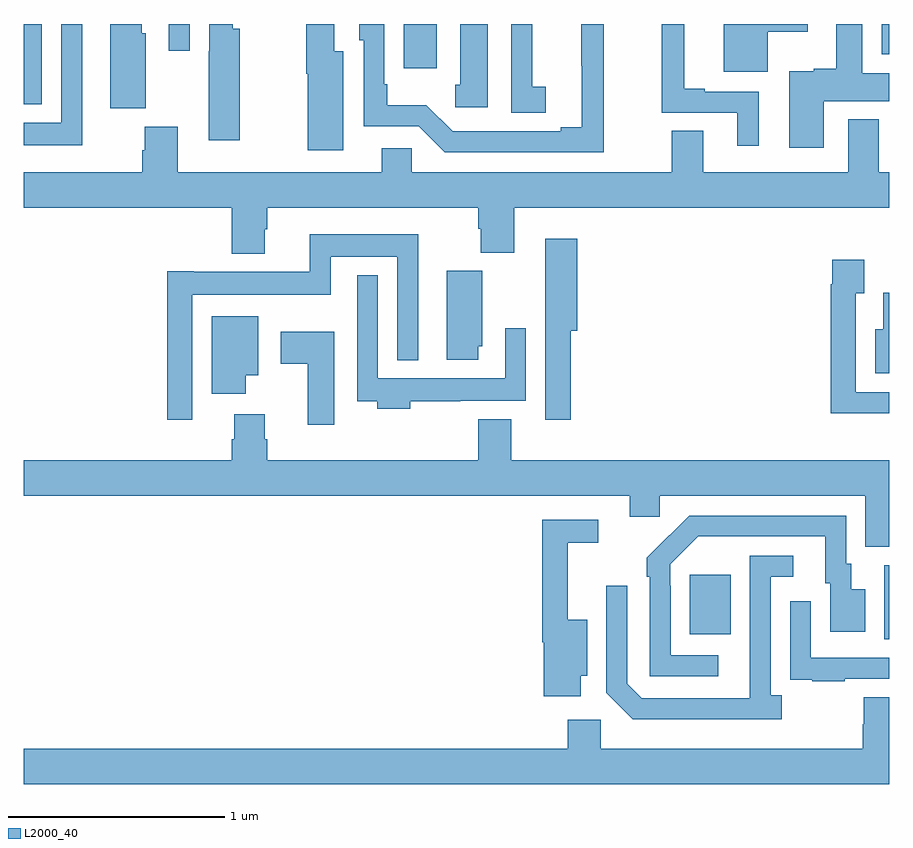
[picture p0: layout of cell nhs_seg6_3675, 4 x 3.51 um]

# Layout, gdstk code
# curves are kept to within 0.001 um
import gdstk
lib = gdstk.Library(unit=1e-6, precision=1e-09)
def R(c, l, rs):  # rectangles x0, y0, x1, y1
    for r in rs: c.add(gdstk.rectangle(r[:2], r[2:], *l))
def P(c, l, *ps):  # polygons
    for p in ps: c.add(gdstk.Polygon(p, *l))
L2000_40 = (2000, 40)

nhs_seg6_3675 = lib.new_cell('nhs_seg6_3675')
R(nhs_seg6_3675, L2000_40, [(328.976,962.656,329,963), (328.079,962.681,328.267,962.956), (325,965.129,325.083,965.5), (326.756,965.295,326.908,965.5), (328.964,965.36,329,965.5), (325.671,965.376,325.767,965.5)])
P(nhs_seg6_3675, L2000_40, [(327.68,965.5),(327.577,965.5),(327.578,965.024),(327.482,965.024),(327.482,965.004),(326.982,965.004),(326.861,965.125),(326.68,965.125),(326.68,965.221),(326.667,965.221),(326.667,965.5),(326.55,965.5),(326.55,965.424),(326.571,965.424),(326.571,965.028),(326.826,965.028),(326.946,964.908),(327.68,964.908)],
  [(327.145,965.5),(327.017,965.5),(327.017,965.22),(326.995,965.22),(326.995,965.115),(327.145,965.115)],
  [(325.564,965.457),(325.546,965.457),(325.546,965.5),(325.4,965.5),(325.4,965.11),(325.564,965.11)],
  [(328.396,965.187),(328.147,965.187),(328.147,965.2),(328.052,965.2),(328.052,965.5),(327.949,965.5),(327.949,965.091),(328.298,965.091),(328.298,964.938),(328.396,964.938)],
  [(326.476,965.374),(326.434,965.374),(326.434,965.5),(326.305,965.5),(326.305,965.27),(326.312,965.27),(326.312,964.917),(326.476,964.917)],
  [(325.998,965.479),(325.966,965.479),(325.966,965.5),(325.857,965.5),(325.857,965.375),(325.856,965.375),(325.856,964.962),(325.998,964.962)],
  [(325.27,965.5),(325.173,965.5),(325.173,965.044),(325,965.044),(325,964.94),(325.27,964.94)],
  [(328.438,965.465),(328.624,965.465),(328.624,965.5),(328.235,965.5),(328.235,965.279),(328.438,965.279)],
  [(328.696,965.144),(329,965.144),(329,965.272),(328.876,965.272),(328.876,965.5),(328.754,965.5),(328.754,965.294),(328.65,965.294),(328.65,965.281),(328.538,965.281),(328.538,964.929),(328.696,964.929)],
  [(327.412,965.209),(327.351,965.209),(327.351,965.5),(327.252,965.5),(327.252,965.089),(327.412,965.089)],
  [(326.113,964.551),(326.126,964.551),(326.126,964.652),(327.101,964.652),(327.101,964.553),(327.113,964.553),(327.113,964.444),(327.266,964.444),(327.266,964.652),(329,964.652),(329,964.816),(328.951,964.816),(328.951,965.059),(328.811,965.059),(328.811,964.816),(328.141,964.816),(328.141,965.006),(327.994,965.006),(327.994,964.816),(326.793,964.816),(326.793,964.926),(326.654,964.926),(326.654,964.816),(325.712,964.816),(325.712,965.025),(325.559,965.025),(325.559,964.916),(325.547,964.916),(325.547,964.816),(325,964.816),(325,964.652),(325.961,964.652),(325.961,964.439),(326.113,964.439)],
  [(325.779,964.25),(326.418,964.25),(326.418,964.424),(326.727,964.424),(326.727,963.947),(326.824,963.947),(326.824,964.528),(326.321,964.528),(326.321,964.354),(325.786,964.354),(325.786,964.357),(325.663,964.357),(325.663,963.672),(325.779,963.672)],
  [(327.527,964.082),(327.557,964.082),(327.557,964.507),(327.41,964.507),(327.41,964.186),(327.411,964.186),(327.411,963.672),(327.527,963.672)],
  [(329,963.798),(328.845,963.798),(328.845,964.255),(328.885,964.255),(328.885,964.411),(328.737,964.411),(328.737,964.298),(328.729,964.298),(328.729,963.701),(329,963.701)],
  [(327.1,964.011),(327.118,964.011),(327.118,964.359),(326.954,964.359),(326.954,963.948),(327.1,963.948)],
  [(326.786,963.756),(327.017,963.756),(327.017,963.758),(327.321,963.758),(327.321,964.093),(327.225,964.093),(327.225,963.862),(326.637,963.862),(326.637,964.339),(326.541,964.339),(326.541,963.756),(326.633,963.756),(326.633,963.722),(326.786,963.722)],
  [(329,964.258),(328.973,964.258),(328.973,964.09),(328.934,964.09),(328.934,963.887),(329,963.887)],
  [(326.026,963.878),(326.083,963.878),(326.083,964.15),(325.868,964.15),(325.868,963.792),(326.026,963.792)],
  [(326.434,964.078),(326.187,964.078),(326.187,963.931),(326.312,963.931),(326.312,963.648),(326.434,963.648)],
  [(329,963.484),(327.253,963.484),(327.253,963.673),(327.101,963.673),(327.101,963.484),(326.126,963.484),(326.126,963.582),(326.113,963.582),(326.113,963.697),(325.973,963.697),(325.973,963.582),(325.961,963.582),(325.961,963.484),(325,963.484),(325,963.32),(327.8,963.32),(327.8,963.222),(327.939,963.222),(327.939,963.32),(328.889,963.32),(328.889,963.085),(329,963.085)],
  [(328.21,962.583),(327.99,962.583),(327.99,962.903),(327.987,962.903),(327.987,963.003),(328.116,963.132),(328.703,963.132),(328.703,962.916),(328.727,962.916),(328.727,962.691),(328.888,962.691),(328.888,962.887),(328.825,962.887),(328.825,963.006),(328.8,963.006),(328.8,963.228),(328.076,963.228),(327.879,963.033),(327.879,962.945),(327.894,962.945),(327.894,962.487),(328.21,962.487)],
  [(327.574,962.489),(327.604,962.489),(327.604,962.746),(327.515,962.746),(327.515,963.102),(327.655,963.102),(327.655,963.21),(327.397,963.21),(327.397,962.642),(327.404,962.642),(327.404,962.394),(327.574,962.394)],
  [(328.504,962.398),(328.452,962.398),(328.452,962.946),(328.555,962.946),(328.555,963.042),(328.356,963.042),(328.355,962.385),(327.855,962.385),(327.789,962.451),(327.789,962.905),(327.693,962.905),(327.693,962.409),(327.814,962.288),(328.504,962.288)],
  [(328.793,962.475),(329,962.475),(329,962.571),(328.638,962.571),(328.638,962.833),(328.542,962.833),(328.542,962.578),(328.543,962.578),(328.543,962.469),(328.645,962.469),(328.645,962.463),(328.793,962.463)],
  [(329,962.39),(328.882,962.39),(328.882,962.265),(328.877,962.265),(328.877,962.152),(327.666,962.152),(327.666,962.284),(327.515,962.284),(327.515,962.152),(325,962.152),(325,961.988),(329,961.988)])

lib.write_gds('nhs_seg6_3675.gds')
